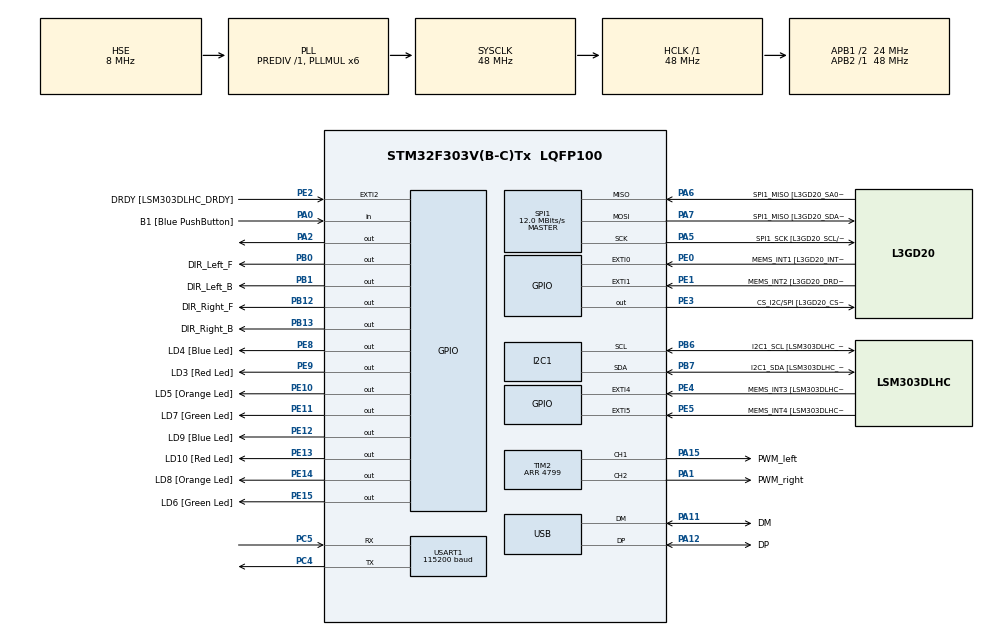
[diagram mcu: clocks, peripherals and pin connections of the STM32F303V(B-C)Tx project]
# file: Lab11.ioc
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I2C1.Timing=0x00201D2B
I2C1.Timing-I2C=0x2000090E
Mcu.Family=STM32F3
Mcu.Name=STM32F303V(B-C)Tx
Mcu.Package=LQFP100
NVIC.PriorityGroup=NVIC_PRIORITYGROUP_0
NVIC.TIM4_IRQn=true\:0\:0\:false\:false\:true\:true\:true\:true
PA0.GPIO_Label=B1 [Blue PushButton]
PA0.Signal=GPIO_Input
PA1.GPIO_Label=PWM_right
PA1.Signal=S_TIM2_CH2
PA11.GPIO_Label=DM
PA11.Mode=Device
PA11.Signal=USB_DM
PA12.GPIO_Label=DP
PA12.Mode=Device
PA12.Signal=USB_DP
PA13.GPIO_Label=SWDIO
PA13.Mode=Serial_Wire
PA13.Signal=SYS_JTMS-SWDIO
PA14.GPIO_Label=SWCLK
PA14.Mode=Serial_Wire
PA14.Signal=SYS_JTCK-SWCLK
PA15.GPIO_Label=PWM_left
PA15.Signal=S_TIM2_CH1_ETR
PA2.Signal=GPIO_Output
PA5.GPIO_Label=SPI1_SCK [L3GD20_SCL/SPC]
PA5.Mode=Full_Duplex_Master
PA5.Signal=SPI1_SCK
PA6.GPIO_Label=SPI1_MISO [L3GD20_SA0/SDO]
PA6.Mode=Full_Duplex_Master
PA6.Signal=SPI1_MISO
PA7.GPIO_Label=SPI1_MISO [L3GD20_SDA/SDI/SDO]
PA7.Mode=Full_Duplex_Master
PA7.Signal=SPI1_MOSI
PB0.GPIO_Label=DIR_Left_F
PB0.Signal=GPIO_Output
PB1.GPIO_Label=DIR_Left_B
PB1.Signal=GPIO_Output
PB12.GPIO_Label=DIR_Right_F
PB12.Signal=GPIO_Output
PB13.GPIO_Label=DIR_Right_B
PB13.Signal=GPIO_Output
PB3.GPIO_Label=SWO
PB3.Signal=SYS_JTDO-TRACESWO
PB6.GPIO_Label=I2C1_SCL [LSM303DLHC_SCL]
PB6.GPIO_Pu=GPIO_PULLUP
PB6.Mode=I2C
PB6.Signal=I2C1_SCL
PB7.GPIO_Label=I2C1_SDA [LSM303DLHC_SDA]
PB7.GPIO_Pu=GPIO_PULLUP
PB7.Mode=I2C
PB7.Signal=I2C1_SDA
PC14-OSC32_IN.GPIO_Label=OSC32_IN
PC14-OSC32_IN.Signal=RCC_OSC32_IN
PC15-OSC32_OUT.GPIO_Label=OSC32_OUT
PC15-OSC32_OUT.Signal=RCC_OSC32_OUT
PC4.Mode=Asynchronous
PC4.Signal=USART1_TX
PC5.Mode=Asynchronous
PC5.Signal=USART1_RX
PE0.GPIO_Label=MEMS_INT1 [L3GD20_INT1]
PE0.GPIO_ModeDefaultEXTI=GPIO_MODE_EVT_RISING
PE0.Signal=GPXTI0
PE1.GPIO_Label=MEMS_INT2 [L3GD20_DRDY/INT2]
PE1.GPIO_ModeDefaultEXTI=GPIO_MODE_EVT_RISING
PE1.Signal=GPXTI1
PE10.GPIO_Label=LD5 [Orange Led]
PE10.Signal=GPIO_Output
PE11.GPIO_Label=LD7 [Green Led]
PE11.Signal=GPIO_Output
PE12.GPIO_Label=LD9 [Blue Led]
PE12.Signal=GPIO_Output
PE13.GPIO_Label=LD10 [Red Led]
PE13.Signal=GPIO_Output
PE14.GPIO_Label=LD8 [Orange Led]
PE14.Signal=GPIO_Output
PE15.GPIO_Label=LD6 [Green Led]
PE15.Signal=GPIO_Output
PE2.GPIO_Label=DRDY [LSM303DLHC_DRDY]
PE2.GPIO_ModeDefaultEXTI=GPIO_MODE_EVT_RISING
PE2.Signal=GPXTI2
PE3.GPIO_Label=CS_I2C/SPI [L3GD20_CS_I2C/SPI]
PE3.Signal=GPIO_Output
PE4.GPIO_Label=MEMS_INT3 [LSM303DLHC_INT1]
PE4.GPIO_ModeDefaultEXTI=GPIO_MODE_EVT_RISING
PE4.Signal=GPXTI4
PE5.GPIO_Label=MEMS_INT4 [LSM303DLHC_INT2]
PE5.GPIO_ModeDefaultEXTI=GPIO_MODE_EVT_RISING
PE5.Signal=GPXTI5
PE8.GPIO_Label=LD4 [Blue Led]
PE8.Signal=GPIO_Output
PE9.GPIO_Label=LD3 [Red Led]
PE9.Signal=GPIO_Output
PF0-OSC_IN.GPIO_Label=OSC_IN
PF0-OSC_IN.Mode=HSE-External-Clock-Source
PF0-OSC_IN.Signal=RCC_OSC_IN
PF1-OSC_OUT.GPIO_Label=OSC_OUT
PF1-OSC_OUT.Signal=RCC_OSC_OUT
ProjectManager.HeapSize=0x200
ProjectManager.StackSize=0x400
ProjectManager.TargetToolchain=CMake
RCC.AHBFreq_Value=48000000
RCC.APB1CLKDivider=RCC_HCLK_DIV2
RCC.APB1Freq_Value=24000000
RCC.APB1TimFreq_Value=48000000
RCC.APB2Freq_Value=48000000
RCC.APB2TimFreq_Value=48000000
RCC.CortexFreq_Value=48000000
RCC.HCLKFreq_Value=48000000
RCC.HSE_VALUE=8000000
RCC.HSI_VALUE=8000000
RCC.LSE_VALUE=32768
RCC.PLLMUL=RCC_PLL_MUL6
RCC.SYSCLKFreq_VALUE=48000000
RCC.SYSCLKSourceVirtual=RCC_SYSCLKSOURCE_PLLCLK
RCC.USBFreq_Value=48000000
SH.S_TIM2_CH1_ETR.0=TIM2_CH1,PWM Generation1 CH1
SH.S_TIM2_CH2.0=TIM2_CH2,PWM Generation2 CH2
SPI1.BaudRatePrescaler=SPI_BAUDRATEPRESCALER_4
SPI1.BaudRatePrescaler-Full_Duplex_Master=SPI_BAUDRATEPRESCALER_2
SPI1.CLKPhase=SPI_PHASE_2EDGE
SPI1.CLKPolarity=SPI_POLARITY_HIGH
SPI1.CalculateBaudRate=12.0 MBits/s
SPI1.CalculateBaudRate-Full_Duplex_Master=24.0 MBits/s
SPI1.DataSize=SPI_DATASIZE_8BIT
SPI1.Direction=SPI_DIRECTION_2LINES
SPI1.Mode=SPI_MODE_MASTER
SPI1.Mode-Full_Duplex_Master=SPI_MODE_MASTER
SPI1.VirtualType=VM_MASTER
TIM2.Channel-PWM\ Generation1\ CH1=TIM_CHANNEL_1
TIM2.Channel-PWM\ Generation2\ CH2=TIM_CHANNEL_2
TIM2.Period=4799
TIM4.Period=49
TIM4.Prescaler=7199
USART1.BaudRate=115200
USART1.VirtualMode-Asynchronous=VM_ASYNC
VP_TIM2_VS_ClockSourceINT.Mode=Internal
VP_TIM4_VS_ClockSourceINT.Mode=Internal
board=STM32F3DISCOVERY

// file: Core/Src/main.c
/* USER CODE BEGIN Header */
/**
 ******************************************************************************
 * @file           : main.c
 * @brief          : Main program body
 ******************************************************************************
 * @attention
 *
 * Copyright (c) 2026 STMicroelectronics.
 * All rights reserved.
 *
 * This software is licensed under terms that can be found in the LICENSE file
 * in the root directory of this software component.
 * If no LICENSE file comes with this software, it is provided AS-IS.
 *
 ******************************************************************************
 */
/* USER CODE END Header */
#include "main.h"

/* USER CODE BEGIN Includes */
#include <math.h> // For atan2f
#include <stdint.h>
#include <stdio.h>
#include <string.h>

/* USER CODE END Includes */

/* USER CODE BEGIN PTD */
typedef struct {
  int16_t raw_x;
  int16_t raw_y;
  int16_t raw_z;
  float scaled_x;
  float scaled_y;
  float scaled_z;
  float offset_x;
  float offset_y;
  float offset_z;
  int16_t gyro_raw_x;
  int16_t gyro_raw_y;
  int16_t gyro_raw_z;
  float gyro_scaled_x;
  float gyro_scaled_y;
  float gyro_scaled_z;
  float gyro_offset_x;
  float gyro_offset_y;
  float gyro_offset_z;
} LSM_Data;
/* USER CODE END PTD */

/* USER CODE BEGIN PD */
#define LSM_ADDR (0x19 << 1)
#define GYRO_CS_PORT GPIOE
#define GYRO_CS_PIN GPIO_PIN_3
#define GYRO_CTRL_REG1 0x20
#define GYRO_OUT_X_L 0x28
#define MAX_PWM 4799.0f
#define PWM_DEADZONE 300.0f

#define DIR_Left_F_Pin GPIO_PIN_0
#define DIR_Left_B_Pin GPIO_PIN_1
#define DIR_Right_F_Pin GPIO_PIN_12
#define DIR_Right_B_Pin GPIO_PIN_13
/* USER CODE END PD */

I2C_HandleTypeDef hi2c1;

SPI_HandleTypeDef hspi1;

TIM_HandleTypeDef htim2;
TIM_HandleTypeDef htim4;

UART_HandleTypeDef huart1;

PCD_HandleTypeDef hpcd_USB_FS;

/* USER CODE BEGIN PV */
LSM_Data acc_data;

// Control Loop Variables
float dt = 0.005f; // 200Hz loop time from your TIM4 setup
volatile uint8_t display_flag = 0;

// Angle Estimation Variables
float tilt_angle = 0.0f;
float acc_angle = 0.0f;
float filtered_derivative = 0.0f;
float alpha = 0.25f; // Filter strength, tune between 0.1 - 0.3
// PID Variables
float Kp = 25.0f; //60// Placeholder gains
float Ki = 0.1f;  //0.5s
float Kd = 0.65f;//10

float setpoint = 0.0f; // 0 degrees = perfectly upright
float integral = 0.0f;
float previous_error = 0.0f;
float pid_output = 0.0f;
/* USER CODE END PV */

void SystemClock_Config(void);
static void MX_GPIO_Init(void);
static void MX_I2C1_Init(void);
static void MX_SPI1_Init(void);
static void MX_TIM4_Init(void);
static void MX_USART1_UART_Init(void);
static void MX_USB_PCD_Init(void);
static void MX_TIM2_Init(void);
/* USER CODE BEGIN PFP */
void LSM_Init(void);
void GYRO_Init(void);
void GYRO_Read(LSM_Data *data);
void LSM_Read(LSM_Data *data);
void LSM_Offset_Calibration(LSM_Data *data);
void GYRO_Offset_Calibration(LSM_Data *data);
void Set_Motor_Speeds(float pid_value);
void HAL_TIM_MspPostInit(TIM_HandleTypeDef *htim);
/* USER CODE END PFP */

/* USER CODE BEGIN 0 */
void LSM_Offset_Calibration(LSM_Data *data) {
  float sum_x = 0.0f, sum_y = 0.0f, sum_z = 0.0f;

  // 1. Wipe out any old garbage offsets first
  data->offset_x = 0.0f;
  data->offset_y = 0.0f;
  data->offset_z = 0.0f;

  // 2. Take 50 clean readings using your proper read function
  for (int i = 0; i < 50; i++) {
    LSM_Read(data);
    sum_x += data->scaled_x;
    sum_y += data->scaled_y;
    sum_z += data->scaled_z;
    HAL_Delay(10);
  }

  // 3. Save the true averages
  data->offset_x = sum_x / 50.0f;
  data->offset_y = sum_y / 50.0f;
  data->offset_z = (sum_z / 50.0f) - 1.0f; // Subtract 1G for gravity
}

/* USER CODE END 0 */

int main(void) {

  /* MCU Configuration--------------------------------------------------------*/

  /* Reset of all peripherals, Initializes the Flash interface and the Systick.
   */

   HAL_Init();

  /* Configure the system clock */
  SystemClock_Config();

  /* Initialize all configured peripherals */
  MX_GPIO_Init();
  MX_I2C1_Init();
  MX_SPI1_Init();
  MX_TIM4_Init();
  MX_USART1_UART_Init();
  MX_USB_PCD_Init();
  MX_TIM2_Init();
  /* USER CODE BEGIN 2 */
  // ... (keep your existing init code here)
  LSM_Init();
  GYRO_Init();
  HAL_Delay(200);
  LSM_Offset_Calibration(&acc_data);
  GYRO_Offset_Calibration(&acc_data);

  HAL_TIM_Base_Start_IT(&htim4); // START THE TIMER INTERRUPT! [cits: 268]
  LSM_Init();
  GYRO_Init();
  HAL_Delay(200);
  LSM_Offset_Calibration(&acc_data);
  GYRO_Offset_Calibration(&acc_data);

  // Start the Motor PWM channels!
  HAL_TIM_PWM_Start(&htim2, TIM_CHANNEL_1);
  HAL_TIM_PWM_Start(&htim2, TIM_CHANNEL_2);

  HAL_TIM_Base_Start_IT(&htim4); // START THE 200Hz TIMER INTERRUPT!
  /* USER CODE END 2 */

  /* Infinite loop */
  /* USER CODE BEGIN WHILE */
  while (1) {
    if (display_flag == 1) {
      display_flag = 0;

      // Printing all raw gyro rates, accelerometer data, and filtered angle
      // printf("AX: %.2f | AY: %.2f | AZ: %.2f || GX: %.2f | GY: %.2f | GZ:
      // %.2f || Angle: %.2f\r\n",
      //        acc_data.scaled_x,
      //        acc_data.scaled_y,
      //        acc_data.scaled_z,
      //        acc_data.gyro_scaled_x,
      //        acc_data.gyro_scaled_y,
      //        acc_data.gyro_scaled_z,
      //        tilt_angle);
      printf("%.2f,%.2f,%.2f\r\n", acc_data.scaled_y, acc_data.gyro_scaled_y,
             tilt_angle);
    }
    /* USER CODE END WHILE */

  }
}

void SystemClock_Config(void) {
  RCC_OscInitTypeDef RCC_OscInitStruct = {0};
  RCC_ClkInitTypeDef RCC_ClkInitStruct = {0};
  RCC_PeriphCLKInitTypeDef PeriphClkInit = {0};

  /** Initializes the RCC Oscillators according to the specified parameters
   * in the RCC_OscInitTypeDef structure.
   */
  RCC_OscInitStruct.OscillatorType =
      RCC_OSCILLATORTYPE_HSI | RCC_OSCILLATORTYPE_HSE;
  RCC_OscInitStruct.HSEState = RCC_HSE_BYPASS;
  RCC_OscInitStruct.HSEPredivValue = RCC_HSE_PREDIV_DIV1;
  RCC_OscInitStruct.HSIState = RCC_HSI_ON;
  RCC_OscInitStruct.HSICalibrationValue = RCC_HSICALIBRATION_DEFAULT;
  RCC_OscInitStruct.PLL.PLLState = RCC_PLL_ON;
  RCC_OscInitStruct.PLL.PLLSource = RCC_PLLSOURCE_HSE;
  RCC_OscInitStruct.PLL.PLLMUL = RCC_PLL_MUL6;
  if (HAL_RCC_OscConfig(&RCC_OscInitStruct) != HAL_OK) {
    Error_Handler();
  }

  /** Initializes the CPU, AHB and APB buses clocks
   */
  RCC_ClkInitStruct.ClockType = RCC_CLOCKTYPE_HCLK | RCC_CLOCKTYPE_SYSCLK |
                                RCC_CLOCKTYPE_PCLK1 | RCC_CLOCKTYPE_PCLK2;
  RCC_ClkInitStruct.SYSCLKSource = RCC_SYSCLKSOURCE_PLLCLK;
  RCC_ClkInitStruct.AHBCLKDivider = RCC_SYSCLK_DIV1;
  RCC_ClkInitStruct.APB1CLKDivider = RCC_HCLK_DIV2;
  RCC_ClkInitStruct.APB2CLKDivider = RCC_HCLK_DIV1;

  if (HAL_RCC_ClockConfig(&RCC_ClkInitStruct, FLASH_LATENCY_1) != HAL_OK) {
    Error_Handler();
  }
  PeriphClkInit.PeriphClockSelection =
      RCC_PERIPHCLK_USB | RCC_PERIPHCLK_USART1 | RCC_PERIPHCLK_I2C1;
  PeriphClkInit.Usart1ClockSelection = RCC_USART1CLKSOURCE_PCLK2;
  PeriphClkInit.I2c1ClockSelection = RCC_I2C1CLKSOURCE_HSI;
  PeriphClkInit.USBClockSelection = RCC_USBCLKSOURCE_PLL;
  if (HAL_RCCEx_PeriphCLKConfig(&PeriphClkInit) != HAL_OK) {
    Error_Handler();
  }
}

static void MX_I2C1_Init(void) {

  hi2c1.Instance = I2C1;
  hi2c1.Init.Timing = 0x00201D2B;
  hi2c1.Init.OwnAddress1 = 0;
  hi2c1.Init.AddressingMode = I2C_ADDRESSINGMODE_7BIT;
  hi2c1.Init.DualAddressMode = I2C_DUALADDRESS_DISABLE;
  hi2c1.Init.OwnAddress2 = 0;
  hi2c1.Init.OwnAddress2Masks = I2C_OA2_NOMASK;
  hi2c1.Init.GeneralCallMode = I2C_GENERALCALL_DISABLE;
  hi2c1.Init.NoStretchMode = I2C_NOSTRETCH_DISABLE;
  if (HAL_I2C_Init(&hi2c1) != HAL_OK) {
    Error_Handler();
  }

  /** Configure Analogue filter
   */
  if (HAL_I2CEx_ConfigAnalogFilter(&hi2c1, I2C_ANALOGFILTER_ENABLE) != HAL_OK) {
    Error_Handler();
  }

  /** Configure Digital filter
   */
  if (HAL_I2CEx_ConfigDigitalFilter(&hi2c1, 0) != HAL_OK) {
    Error_Handler();
  }
}

static void MX_SPI1_Init(void) {

  /* SPI1 parameter configuration*/
  hspi1.Instance = SPI1;
  hspi1.Init.Mode = SPI_MODE_MASTER;
  hspi1.Init.Direction = SPI_DIRECTION_2LINES;
  hspi1.Init.DataSize = SPI_DATASIZE_8BIT;
  hspi1.Init.CLKPolarity = SPI_POLARITY_HIGH;
  hspi1.Init.CLKPhase = SPI_PHASE_2EDGE;
  hspi1.Init.NSS = SPI_NSS_SOFT;
  hspi1.Init.BaudRatePrescaler = SPI_BAUDRATEPRESCALER_4;
  hspi1.Init.FirstBit = SPI_FIRSTBIT_MSB;
  hspi1.Init.TIMode = SPI_TIMODE_DISABLE;
  hspi1.Init.CRCCalculation = SPI_CRCCALCULATION_DISABLE;
  hspi1.Init.CRCPolynomial = 7;
  hspi1.Init.CRCLength = SPI_CRC_LENGTH_DATASIZE;
  hspi1.Init.NSSPMode = SPI_NSS_PULSE_DISABLE;
  if (HAL_SPI_Init(&hspi1) != HAL_OK) {
    Error_Handler();
  }
}

static void MX_TIM2_Init(void) {

  TIM_ClockConfigTypeDef sClockSourceConfig = {0};
  TIM_MasterConfigTypeDef sMasterConfig = {0};
  TIM_OC_InitTypeDef sConfigOC = {0};

  htim2.Instance = TIM2;
  htim2.Init.Prescaler = 0;
  htim2.Init.CounterMode = TIM_COUNTERMODE_UP;
  htim2.Init.Period = 4799;
  htim2.Init.ClockDivision = TIM_CLOCKDIVISION_DIV1;
  htim2.Init.AutoReloadPreload = TIM_AUTORELOAD_PRELOAD_DISABLE;
  if (HAL_TIM_Base_Init(&htim2) != HAL_OK) {
    Error_Handler();
  }
  sClockSourceConfig.ClockSource = TIM_CLOCKSOURCE_INTERNAL;
  if (HAL_TIM_ConfigClockSource(&htim2, &sClockSourceConfig) != HAL_OK) {
    Error_Handler();
  }
  if (HAL_TIM_PWM_Init(&htim2) != HAL_OK) {
    Error_Handler();
  }
  sMasterConfig.MasterOutputTrigger = TIM_TRGO_RESET;
  sMasterConfig.MasterSlaveMode = TIM_MASTERSLAVEMODE_DISABLE;
  if (HAL_TIMEx_MasterConfigSynchronization(&htim2, &sMasterConfig) != HAL_OK) {
    Error_Handler();
  }
  sConfigOC.OCMode = TIM_OCMODE_PWM1;
  sConfigOC.Pulse = 0;
  sConfigOC.OCPolarity = TIM_OCPOLARITY_HIGH;
  sConfigOC.OCFastMode = TIM_OCFAST_DISABLE;
  if (HAL_TIM_PWM_ConfigChannel(&htim2, &sConfigOC, TIM_CHANNEL_1) != HAL_OK) {
    Error_Handler();
  }
  if (HAL_TIM_PWM_ConfigChannel(&htim2, &sConfigOC, TIM_CHANNEL_2) != HAL_OK) {
    Error_Handler();
  }
  HAL_TIM_MspPostInit(&htim2);
}

static void MX_TIM4_Init(void) {

  TIM_ClockConfigTypeDef sClockSourceConfig = {0};
  TIM_MasterConfigTypeDef sMasterConfig = {0};

  htim4.Instance = TIM4;
  htim4.Init.Prescaler = 7199;
  htim4.Init.CounterMode = TIM_COUNTERMODE_UP;
  htim4.Init.Period = 49;
  htim4.Init.ClockDivision = TIM_CLOCKDIVISION_DIV1;
  htim4.Init.AutoReloadPreload = TIM_AUTORELOAD_PRELOAD_DISABLE;
  if (HAL_TIM_Base_Init(&htim4) != HAL_OK) {
    Error_Handler();
  }
  sClockSourceConfig.ClockSource = TIM_CLOCKSOURCE_INTERNAL;
  if (HAL_TIM_ConfigClockSource(&htim4, &sClockSourceConfig) != HAL_OK) {
    Error_Handler();
  }
  sMasterConfig.MasterOutputTrigger = TIM_TRGO_RESET;
  sMasterConfig.MasterSlaveMode = TIM_MASTERSLAVEMODE_DISABLE;
  if (HAL_TIMEx_MasterConfigSynchronization(&htim4, &sMasterConfig) != HAL_OK) {
    Error_Handler();
  }
}

static void MX_USART1_UART_Init(void) {

  huart1.Instance = USART1;
  huart1.Init.BaudRate = 115200;
  huart1.Init.WordLength = UART_WORDLENGTH_8B;
  huart1.Init.StopBits = UART_STOPBITS_1;
  huart1.Init.Parity = UART_PARITY_NONE;
  huart1.Init.Mode = UART_MODE_TX_RX;
  huart1.Init.HwFlowCtl = UART_HWCONTROL_NONE;
  huart1.Init.OverSampling = UART_OVERSAMPLING_16;
  huart1.Init.OneBitSampling = UART_ONE_BIT_SAMPLE_DISABLE;
  huart1.AdvancedInit.AdvFeatureInit = UART_ADVFEATURE_NO_INIT;
  if (HAL_UART_Init(&huart1) != HAL_OK) {
    Error_Handler();
  }
}

static void MX_USB_PCD_Init(void) {

  hpcd_USB_FS.Instance = USB;
  hpcd_USB_FS.Init.dev_endpoints = 8;
  hpcd_USB_FS.Init.speed = PCD_SPEED_FULL;
  hpcd_USB_FS.Init.phy_itface = PCD_PHY_EMBEDDED;
  hpcd_USB_FS.Init.low_power_enable = DISABLE;
  hpcd_USB_FS.Init.battery_charging_enable = DISABLE;
  if (HAL_PCD_Init(&hpcd_USB_FS) != HAL_OK) {
    Error_Handler();
  }
}

static void MX_GPIO_Init(void) {
  GPIO_InitTypeDef GPIO_InitStruct = {0};

  /* GPIO Ports Clock Enable */
  __HAL_RCC_GPIOE_CLK_ENABLE();
  __HAL_RCC_GPIOC_CLK_ENABLE();
  __HAL_RCC_GPIOF_CLK_ENABLE();
  __HAL_RCC_GPIOA_CLK_ENABLE();
  __HAL_RCC_GPIOB_CLK_ENABLE();

  /*Configure GPIO pin Output Level */
  HAL_GPIO_WritePin(GPIOE,
                    CS_I2C_SPI_Pin | LD4_Pin | LD3_Pin | LD5_Pin | LD7_Pin |
                        LD9_Pin | LD10_Pin | LD8_Pin | LD6_Pin,
                    GPIO_PIN_RESET);

  /*Configure GPIO pin Output Level */
  HAL_GPIO_WritePin(GPIOA, GPIO_PIN_2, GPIO_PIN_RESET);

  /*Configure GPIO pin Output Level */
  HAL_GPIO_WritePin(GPIOB,
                    DIR_Left_F_Pin | DIR_Left_B_Pin | DIR_Right_F_Pin |
                        DIR_Right_B_Pin,
                    GPIO_PIN_RESET);

  /*Configure GPIO pins : DRDY_Pin MEMS_INT3_Pin MEMS_INT4_Pin MEMS_INT1_Pin
                           MEMS_INT2_Pin */
  GPIO_InitStruct.Pin =
      DRDY_Pin | MEMS_INT3_Pin | MEMS_INT4_Pin | MEMS_INT1_Pin | MEMS_INT2_Pin;
  GPIO_InitStruct.Mode = GPIO_MODE_EVT_RISING;
  GPIO_InitStruct.Pull = GPIO_NOPULL;
  HAL_GPIO_Init(GPIOE, &GPIO_InitStruct);

  /*Configure GPIO pins : CS_I2C_SPI_Pin LD4_Pin LD3_Pin LD5_Pin
                           LD7_Pin LD9_Pin LD10_Pin LD8_Pin
                           LD6_Pin */
  GPIO_InitStruct.Pin = CS_I2C_SPI_Pin | LD4_Pin | LD3_Pin | LD5_Pin | LD7_Pin |
                        LD9_Pin | LD10_Pin | LD8_Pin | LD6_Pin;
  GPIO_InitStruct.Mode = GPIO_MODE_OUTPUT_PP;
  GPIO_InitStruct.Pull = GPIO_NOPULL;
  GPIO_InitStruct.Speed = GPIO_SPEED_FREQ_LOW;
  HAL_GPIO_Init(GPIOE, &GPIO_InitStruct);

  /*Configure GPIO pin : B1_Pin */
  GPIO_InitStruct.Pin = B1_Pin;
  GPIO_InitStruct.Mode = GPIO_MODE_INPUT;
  GPIO_InitStruct.Pull = GPIO_NOPULL;
  HAL_GPIO_Init(B1_GPIO_Port, &GPIO_InitStruct);

  /*Configure GPIO pin : PA2 */
  GPIO_InitStruct.Pin = GPIO_PIN_2;
  GPIO_InitStruct.Mode = GPIO_MODE_OUTPUT_PP;
  GPIO_InitStruct.Pull = GPIO_NOPULL;
  GPIO_InitStruct.Speed = GPIO_SPEED_FREQ_LOW;
  HAL_GPIO_Init(GPIOA, &GPIO_InitStruct);

  /*Configure GPIO pins : DIR_Left_F_Pin DIR_Left_B_Pin DIR_Right_F_Pin
   * DIR_Right_B_Pin */
  GPIO_InitStruct.Pin =
      DIR_Left_F_Pin | DIR_Left_B_Pin | DIR_Right_F_Pin | DIR_Right_B_Pin;
  GPIO_InitStruct.Mode = GPIO_MODE_OUTPUT_PP;
  GPIO_InitStruct.Pull = GPIO_NOPULL;
  GPIO_InitStruct.Speed = GPIO_SPEED_FREQ_LOW;
  HAL_GPIO_Init(GPIOB, &GPIO_InitStruct);

}

/* USER CODE BEGIN 4 */
void LSM_Init(void) {
  uint8_t data;

  // CTRL_REG1_A → 0x67 speeds the sensor up to 200Hz to match your STM32!
  data = 0x67;
  HAL_I2C_Mem_Write(&hi2c1, LSM_ADDR, 0x20, I2C_MEMADD_SIZE_8BIT, &data, 1,
                    HAL_MAX_DELAY);

  // CTRL_REG4_A → 0x88 turns ON the BDU Shield and High-Resolution mode!
  data = 0x88;
  HAL_I2C_Mem_Write(&hi2c1, LSM_ADDR, 0x23, I2C_MEMADD_SIZE_8BIT, &data, 1,
                    HAL_MAX_DELAY);
}

void GYRO_Init(void) {
  uint8_t data[2];

  data[0] = GYRO_CTRL_REG1;
  data[1] = 0x0F; // Power on, enable X Y Z, 95Hz

  HAL_GPIO_WritePin(GYRO_CS_PORT, GYRO_CS_PIN, GPIO_PIN_RESET);
  HAL_SPI_Transmit(&hspi1, data, 2, HAL_MAX_DELAY);
  HAL_GPIO_WritePin(GYRO_CS_PORT, GYRO_CS_PIN, GPIO_PIN_SET);
}

void GYRO_Offset_Calibration(LSM_Data *data) {
  float sum_x = 0.0f, sum_y = 0.0f, sum_z = 0.0f;
  for (int i = 0; i < 50; i++) {
    GYRO_Read(data); // Read the raw gyro
    sum_x += data->gyro_scaled_x;
    sum_y += data->gyro_scaled_y;
    sum_z += data->gyro_scaled_z;
    HAL_Delay(10);
  }
  // Save the average "fake speed"
  data->gyro_offset_x = sum_x / 50.0f;
  data->gyro_offset_y = sum_y / 50.0f;
  data->gyro_offset_z = sum_z / 50.0f;
}

void LSM_Read(LSM_Data *data) {
  uint8_t rawData[6];

  HAL_I2C_Mem_Read(&hi2c1, LSM_ADDR, 0x28 | 0x80, I2C_MEMADD_SIZE_8BIT, rawData,
                   6, HAL_MAX_DELAY);

  // YOU MUST SHIFT RIGHT BY 4 ( >> 4 ) TO DELETE THE EMPTY BITS!
  data->raw_x = ((int16_t)((rawData[1] << 8) | rawData[0])) >> 4;
  data->raw_y = ((int16_t)((rawData[3] << 8) | rawData[2])) >> 4;
  data->raw_z = ((int16_t)((rawData[5] << 8) | rawData[4])) >> 4;

  // Because we turned on High Res mode, the multiplier is exactly 1.0f,
  // NOT 3.9f!
  data->scaled_x = (data->raw_x * 1.0f / 1000.0f) - data->offset_x;
  data->scaled_y = (data->raw_y * 1.0f / 1000.0f) - data->offset_y;
  data->scaled_z = (data->raw_z * 1.0f / 1000.0f) - data->offset_z;
}

void GYRO_Read(LSM_Data *data) {
  uint8_t tx_buf[7] = {0};
  uint8_t rx_buf[7] = {0};

  tx_buf[0] = 0xC0 | GYRO_OUT_X_L;
  // 0x80 = Read
  // 0x40 = Auto increment

  HAL_GPIO_WritePin(GYRO_CS_PORT, GYRO_CS_PIN, GPIO_PIN_RESET);
  HAL_SPI_TransmitReceive(&hspi1, tx_buf, rx_buf, 7, HAL_MAX_DELAY);
  HAL_GPIO_WritePin(GYRO_CS_PORT, GYRO_CS_PIN, GPIO_PIN_SET);

  data->gyro_raw_x = (int16_t)((rx_buf[2] << 8) | rx_buf[1]);
  data->gyro_raw_y = (int16_t)((rx_buf[4] << 8) | rx_buf[3]);
  data->gyro_raw_z = (int16_t)((rx_buf[6] << 8) | rx_buf[5]);

  // L3GD20 ±250 dps sensitivity
  // L3GD20 ±250 dps sensitivity MINUS the offset
  data->gyro_scaled_x = (data->gyro_raw_x * 0.00875f) - data->gyro_offset_x;
  data->gyro_scaled_y = (data->gyro_raw_y * 0.00875f) - data->gyro_offset_y;
  data->gyro_scaled_z = (data->gyro_raw_z * 0.00875f) - data->gyro_offset_z;
}

int _write(int file, char *ptr, int len) {
  HAL_UART_Transmit(&huart1, (uint8_t *)ptr, len, HAL_MAX_DELAY);
  return len;
}

void HAL_TIM_PeriodElapsedCallback(TIM_HandleTypeDef *htim) {
  if (htim->Instance == TIM4) // Using your TIM4 setup
  {
    static int counter = 0;

    // 1. Read Sensors

    LSM_Read(&acc_data);
    GYRO_Read(&acc_data);

    // 2. Angle Estimation (Complementary Filter)
    // Note: You may need to swap Y/Z or X/Z based on exactly how your board is
    // mounted.
    acc_angle = atan2f(acc_data.scaled_x, acc_data.scaled_z) * (180.0f / M_PI);

    // Filter: 98% Gyro, 2% Accelerometer
    tilt_angle = 0.985f * (tilt_angle + (acc_data.gyro_scaled_y * dt)) +
                 0.015f * acc_angle;

    HAL_GPIO_TogglePin(GPIOA, GPIO_PIN_2);
    // 3. PID Controller
    // Note: Pure proportional (P only) is not allowed by the lab manual
    // float error = setpoint - tilt_angle;

    // // Proportional
    // float P = Kp * error;

    // // Integral
    // integral += error * dt;
    // if (fabsf(error) < 0.5f) integral = 0.0f;
    if (integral > 50.0f)  integral = 50.0f;
    if (integral < -50.0f) integral = -50.0f;
    // float I = Ki * integral;

    // // Derivative
    // float derivative = (error - previous_error) / dt;
    // float D = Kd * derivative;

    // pid_output = P + I + D;
    // previous_error = error;

    // Set_Motor_Speeds(-pid_output);
     if (tilt_angle > 40.0f || tilt_angle < -40.0f)
    {
        // WE FELL OVER. KILL THE MOTORS.
        Set_Motor_Speeds(0.0f);
        integral = 0.0f;
        pid_output = 0.0f;
    }
    else
    {
        // WE ARE UPRIGHT. RUN THE PID MATH.
        float error = setpoint - tilt_angle;

        float P = Kp * error;

        integral += error * dt;
        float I = Ki * integral;

        // float derivative = (error - previous_error) / dt;
        // float D = Kd * derivative;
        float raw_derivative = (error - previous_error) / dt;
        filtered_derivative = alpha * raw_derivative + (1.0f - alpha) * filtered_derivative;
        float D = Kd * filtered_derivative;
        pid_output = P + I + D;
        previous_error = error;

        // Note: If the robot darts in the WRONG direction and forces itself to crash,
        // change this to Set_Motor_Speeds(pid_output);
        Set_Motor_Speeds(-pid_output);
    }
    counter++;
    if (counter >= 20) // 200Hz / 20 = 10Hz print rate
    {
      display_flag = 1;
      counter = 0;
    }
  }
}
void Set_Motor_Speeds(float pid_value) {
  float final_pwm = 0.0f;

  // 1. Determine Direction
  if (pid_value > 0) // Falling Forward -> Drive Forward to catch it
  {
    HAL_GPIO_WritePin(GPIOB, DIR_Left_B_Pin, GPIO_PIN_SET);
    HAL_GPIO_WritePin(GPIOB, DIR_Left_F_Pin, GPIO_PIN_RESET);

    HAL_GPIO_WritePin(GPIOB, DIR_Right_B_Pin, GPIO_PIN_SET);
    HAL_GPIO_WritePin(GPIOB, DIR_Right_F_Pin, GPIO_PIN_RESET);

    final_pwm = pid_value;
  } else if (pid_value < 0) // Falling Backward -> Drive Backward
  {
    HAL_GPIO_WritePin(GPIOB, DIR_Left_F_Pin, GPIO_PIN_SET);
    HAL_GPIO_WritePin(GPIOB, DIR_Left_B_Pin, GPIO_PIN_RESET);

    HAL_GPIO_WritePin(GPIOB, DIR_Right_F_Pin, GPIO_PIN_SET);
    HAL_GPIO_WritePin(GPIOB, DIR_Right_B_Pin, GPIO_PIN_RESET);

    final_pwm = -pid_value; // PWM must be a positive number
  } else                    // Perfectly balanced
  {
    final_pwm = 0.0f;
  }

  // 2. Apply Deadzone (Only if we are actually trying to move)
  if (final_pwm > 0.0f) {
    final_pwm += PWM_DEADZONE;
  }

  // 3. Clamp to Maximum Speed
  if (final_pwm > MAX_PWM) {
    final_pwm = MAX_PWM;
  }

  // 4. Send speed to the hardware timer registers
  __HAL_TIM_SET_COMPARE(&htim2, TIM_CHANNEL_1,
                        (uint32_t)final_pwm); // Left Motor
  __HAL_TIM_SET_COMPARE(&htim2, TIM_CHANNEL_2,
                        (uint32_t)final_pwm); // Right Motor
}
/* USER CODE END 4 */

void Error_Handler(void) {
  __disable_irq();
  while (1) {
  }
}
#ifdef USE_FULL_ASSERT
/**
 * @brief  Reports the name of the source file and the source line number
 *         where the assert_param error has occurred.
 * @param  file: pointer to the source file name
 * @param  line: assert_param error line source number
 * @retval None
 */
void assert_failed(uint8_t *file, uint32_t line) {
  /* USER CODE BEGIN 6 */
  /* User can add his own implementation to report the file name and line
     number, ex: printf("Wrong parameters value: file %s on line %d\r\n", file,
     line) */
  /* USER CODE END 6 */
}
#endif /* USE_FULL_ASSERT */

// /* USER CODE BEGIN Header */
// /**
//  ******************************************************************************
//  * @file           : main.c
//  * @brief          : Main program body
//  ******************************************************************************
//  * @attention
//  *
//  * Copyright (c) 2026 STMicroelectronics.
//  * All rights reserved.
//  *
//  * This software is licensed under terms that can be found in the LICENSE file
//  * in the root directory of this software component.
//  * If no LICENSE file comes with this software, it is provided AS-IS.
//  *
//  ******************************************************************************
//  */
// /* USER CODE END Header */
// /* Includes ------------------------------------------------------------------*/
// #include "main.h"

// /* Private includes ----------------------------------------------------------*/
// /* USER CODE BEGIN Includes */
// #include <math.h> // For atan2f
// #include <stdint.h>
// #include <stdio.h>
// #include <string.h>

// /* USER CODE END Includes */

// /* Private typedef -----------------------------------------------------------*/
// /* USER CODE BEGIN PTD */
// typedef struct {
//   int16_t raw_x;
//   int16_t raw_y;
//   int16_t raw_z;
//   float scaled_x;
//   float scaled_y;
//   float scaled_z;
//   float offset_x;
//   float offset_y;
//   float offset_z;
//   int16_t gyro_raw_x;
//   int16_t gyro_raw_y;
//   int16_t gyro_raw_z;
//   float gyro_scaled_x;
//   float gyro_scaled_y;
//   float gyro_scaled_z;
//   float gyro_offset_x;
//   float gyro_offset_y;
//   float gyro_offset_z;
// } LSM_Data;
// /* USER CODE END PTD */

// /* Private define ------------------------------------------------------------*/
// /* USER CODE BEGIN PD */
// #define LSM_ADDR (0x19 << 1)
// #define GYRO_CS_PORT GPIOE
// #define GYRO_CS_PIN GPIO_PIN_3
// #define GYRO_CTRL_REG1 0x20
// #define GYRO_OUT_X_L 0x28
// #define MAX_PWM 4799.0f
// #define PWM_DEADZONE 300.0f

// #define DIR_Left_F_Pin GPIO_PIN_0
// #define DIR_Left_B_Pin GPIO_PIN_1
// #define DIR_Right_F_Pin GPIO_PIN_12
// #define DIR_Right_B_Pin GPIO_PIN_13
// /* USER CODE END PD */

// /* Private macro -------------------------------------------------------------*/
// /* USER CODE BEGIN PM */

// /* USER CODE END PM */

// /* Private variables ---------------------------------------------------------*/
// I2C_HandleTypeDef hi2c1;

// SPI_HandleTypeDef hspi1;

// TIM_HandleTypeDef htim2;
// TIM_HandleTypeDef htim4;

// UART_HandleTypeDef huart1;

// PCD_HandleTypeDef hpcd_USB_FS;

// /* USER CODE BEGIN PV */
// LSM_Data acc_data;

// // Control Loop Variables
// float dt = 0.005f; // 200Hz loop time from your TIM4 setup
// volatile uint8_t display_flag = 0;

// // Angle Estimation Variables
// float tilt_angle = 0.0f;
// float acc_angle = 0.0f;

// // PID Variables
// float Kp = 25.0f; // Placeholder gains, you will tune these later
// float Ki = 0.1f;
// float Kd = 0.65f;

// float setpoint = 0.0f; // 0 degrees = perfectly upright
// float integral = 0.0f;
// float previous_error = 0.0f;
// float pid_output = 0.0f;
// /* USER CODE END PV */

// /* Private function prototypes -----------------------------------------------*/
// void SystemClock_Config(void);
// static void MX_GPIO_Init(void);
// static void MX_I2C1_Init(void);
// static void MX_SPI1_Init(void);
// static void MX_TIM4_Init(void);
// static void MX_USART1_UART_Init(void);
// static void MX_USB_PCD_Init(void);
// static void MX_TIM2_Init(void);
// /* USER CODE BEGIN PFP */
// void LSM_Init(void);
// void GYRO_Init(void);
// void GYRO_Read(LSM_Data *data);
// void LSM_Read(LSM_Data *data);
// void LSM_Offset_Calibration(LSM_Data *data);
// void GYRO_Offset_Calibration(LSM_Data *data);
// void Set_Motor_Speeds(float pid_value);
// void HAL_TIM_MspPostInit(TIM_HandleTypeDef *htim);
// /* USER CODE END PFP */

// /* Private user code ---------------------------------------------------------*/
// /* USER CODE BEGIN 0 */
// void LSM_Offset_Calibration(LSM_Data *data) {
//   float sum_x = 0.0f, sum_y = 0.0f, sum_z = 0.0f;

//   // 1. Wipe out any old garbage offsets first
//   data->offset_x = 0.0f;
//   data->offset_y = 0.0f;
//   data->offset_z = 0.0f;

//   // 2. Take 50 clean readings using your proper read function
//   for (int i = 0; i < 50; i++) {
//     LSM_Read(data);
//     sum_x += data->scaled_x;
//     sum_y += data->scaled_y;
//     sum_z += data->scaled_z;
//     HAL_Delay(10);
//   }

//   // 3. Save the true averages
//   data->offset_x = sum_x / 50.0f;
//   data->offset_y = sum_y / 50.0f;
//   data->offset_z = (sum_z / 50.0f) - 1.0f; // Subtract 1G for gravity
// }

// /* USER CODE END 0 */

// /**
//  * @brief  The application entry point.
//  * @retval int
//  */
// int main(void) {

//   /* USER CODE BEGIN 1 */

//   /* USER CODE END 1 */

//   /* MCU Configuration--------------------------------------------------------*/

//   /* Reset of all peripherals, Initializes the Flash interface and the Systick.
//    */
//   HAL_Init();

//   /* USER CODE BEGIN Init */

//   /* USER CODE END Init */

//   /* Configure the system clock */
//   SystemClock_Config();

//   /* USER CODE BEGIN SysInit */

//   /* USER CODE END SysInit */

//   /* Initialize all configured peripherals */
//   MX_GPIO_Init();
//   MX_I2C1_Init();
//   MX_SPI1_Init();
//   MX_TIM4_Init();
//   MX_USART1_UART_Init();
//   MX_USB_PCD_Init();
//   MX_TIM2_Init();
//   /* USER CODE BEGIN 2 */
//   // ... (keep your existing init code here)
//   LSM_Init();
//   GYRO_Init();
//   HAL_Delay(200);
//   LSM_Offset_Calibration(&acc_data);
//   GYRO_Offset_Calibration(&acc_data);

//   HAL_TIM_Base_Start_IT(&htim4); // START THE TIMER INTERRUPT! [cits: 268]
//   LSM_Init();
//   GYRO_Init();
//   HAL_Delay(200);
//   LSM_Offset_Calibration(&acc_data);
//   GYRO_Offset_Calibration(&acc_data);

//   // Start the Motor PWM channels!
//   HAL_TIM_PWM_Start(&htim2, TIM_CHANNEL_1);
//   HAL_TIM_PWM_Start(&htim2, TIM_CHANNEL_2);

//   HAL_TIM_Base_Start_IT(&htim4); // START THE 200Hz TIMER INTERRUPT!
//   /* USER CODE END 2 */

//   /* Infinite loop */
//   /* USER CODE BEGIN WHILE */
//   while (1) {
//     if (display_flag == 1) {
//       display_flag = 0;

//       // Printing all raw gyro rates, accelerometer data, and filtered angle
//       // printf("AX: %.2f | AY: %.2f | AZ: %.2f || GX: %.2f | GY: %.2f | GZ:
//       // %.2f || Angle: %.2f\r\n",
//       //        acc_data.scaled_x,
//       //        acc_data.scaled_y,
//       //        acc_data.scaled_z,
//       //        acc_data.gyro_scaled_x,
//       //        acc_data.gyro_scaled_y,
//       //        acc_data.gyro_scaled_z,
//       //        tilt_angle);
//       printf("%.2f,%.2f,%.2f\r\n", acc_data.scaled_y, acc_data.gyro_scaled_y,
//              tilt_angle);
//     }
//     /* USER CODE END WHILE */

//     /* USER CODE BEGIN 3 */
//   }
//   /* USER CODE END 3 */
// }

// /**
//  * @brief System Clock Configuration
//  * @retval None
//  */
// void SystemClock_Config(void) {
//   RCC_OscInitTypeDef RCC_OscInitStruct = {0};
//   RCC_ClkInitTypeDef RCC_ClkInitStruct = {0};
//   RCC_PeriphCLKInitTypeDef PeriphClkInit = {0};

//   /** Initializes the RCC Oscillators according to the specified parameters
//    * in the RCC_OscInitTypeDef structure.
//    */
//   RCC_OscInitStruct.OscillatorType =
//       RCC_OSCILLATORTYPE_HSI | RCC_OSCILLATORTYPE_HSE;
//   RCC_OscInitStruct.HSEState = RCC_HSE_BYPASS;
//   RCC_OscInitStruct.HSEPredivValue = RCC_HSE_PREDIV_DIV1;
//   RCC_OscInitStruct.HSIState = RCC_HSI_ON;
//   RCC_OscInitStruct.HSICalibrationValue = RCC_HSICALIBRATION_DEFAULT;
//   RCC_OscInitStruct.PLL.PLLState = RCC_PLL_ON;
//   RCC_OscInitStruct.PLL.PLLSource = RCC_PLLSOURCE_HSE;
//   RCC_OscInitStruct.PLL.PLLMUL = RCC_PLL_MUL6;
//   if (HAL_RCC_OscConfig(&RCC_OscInitStruct) != HAL_OK) {
//     Error_Handler();
//   }

//   /** Initializes the CPU, AHB and APB buses clocks
//    */
//   RCC_ClkInitStruct.ClockType = RCC_CLOCKTYPE_HCLK | RCC_CLOCKTYPE_SYSCLK |
//                                 RCC_CLOCKTYPE_PCLK1 | RCC_CLOCKTYPE_PCLK2;
//   RCC_ClkInitStruct.SYSCLKSource = RCC_SYSCLKSOURCE_PLLCLK;
//   RCC_ClkInitStruct.AHBCLKDivider = RCC_SYSCLK_DIV1;
//   RCC_ClkInitStruct.APB1CLKDivider = RCC_HCLK_DIV2;
//   RCC_ClkInitStruct.APB2CLKDivider = RCC_HCLK_DIV1;

//   if (HAL_RCC_ClockConfig(&RCC_ClkInitStruct, FLASH_LATENCY_1) != HAL_OK) {
//     Error_Handler();
//   }
//   PeriphClkInit.PeriphClockSelection =
//       RCC_PERIPHCLK_USB | RCC_PERIPHCLK_USART1 | RCC_PERIPHCLK_I2C1;
//   PeriphClkInit.Usart1ClockSelection = RCC_USART1CLKSOURCE_PCLK2;
//   PeriphClkInit.I2c1ClockSelection = RCC_I2C1CLKSOURCE_HSI;
//   PeriphClkInit.USBClockSelection = RCC_USBCLKSOURCE_PLL;
//   if (HAL_RCCEx_PeriphCLKConfig(&PeriphClkInit) != HAL_OK) {
//     Error_Handler();
//   }
// }

// /**
//  * @brief I2C1 Initialization Function
//  * @param None
//  * @retval None
//  */
// static void MX_I2C1_Init(void) {

//   /* USER CODE BEGIN I2C1_Init 0 */

//   /* USER CODE END I2C1_Init 0 */

//   /* USER CODE BEGIN I2C1_Init 1 */

//   /* USER CODE END I2C1_Init 1 */
//   hi2c1.Instance = I2C1;
//   hi2c1.Init.Timing = 0x00201D2B;
//   hi2c1.Init.OwnAddress1 = 0;
//   hi2c1.Init.AddressingMode = I2C_ADDRESSINGMODE_7BIT;
//   hi2c1.Init.DualAddressMode = I2C_DUALADDRESS_DISABLE;
//   hi2c1.Init.OwnAddress2 = 0;
//   hi2c1.Init.OwnAddress2Masks = I2C_OA2_NOMASK;
//   hi2c1.Init.GeneralCallMode = I2C_GENERALCALL_DISABLE;
//   hi2c1.Init.NoStretchMode = I2C_NOSTRETCH_DISABLE;
//   if (HAL_I2C_Init(&hi2c1) != HAL_OK) {
//     Error_Handler();
//   }

//   /** Configure Analogue filter
//    */
//   if (HAL_I2CEx_ConfigAnalogFilter(&hi2c1, I2C_ANALOGFILTER_ENABLE) != HAL_OK) {
//     Error_Handler();
//   }

//   /** Configure Digital filter
//    */
//   if (HAL_I2CEx_ConfigDigitalFilter(&hi2c1, 0) != HAL_OK) {
//     Error_Handler();
//   }
//   /* USER CODE BEGIN I2C1_Init 2 */

//   /* USER CODE END I2C1_Init 2 */
// }

// /**
//  * @brief SPI1 Initialization Function
//  * @param None
//  * @retval None
//  */
// static void MX_SPI1_Init(void) {

//   /* USER CODE BEGIN SPI1_Init 0 */

//   /* USER CODE END SPI1_Init 0 */

//   /* USER CODE BEGIN SPI1_Init 1 */

//   /* USER CODE END SPI1_Init 1 */
//   /* SPI1 parameter configuration*/
//   hspi1.Instance = SPI1;
//   hspi1.Init.Mode = SPI_MODE_MASTER;
//   hspi1.Init.Direction = SPI_DIRECTION_2LINES;
//   hspi1.Init.DataSize = SPI_DATASIZE_8BIT;
//   hspi1.Init.CLKPolarity = SPI_POLARITY_HIGH;
//   hspi1.Init.CLKPhase = SPI_PHASE_2EDGE;
//   hspi1.Init.NSS = SPI_NSS_SOFT;
//   hspi1.Init.BaudRatePrescaler = SPI_BAUDRATEPRESCALER_4;
//   hspi1.Init.FirstBit = SPI_FIRSTBIT_MSB;
//   hspi1.Init.TIMode = SPI_TIMODE_DISABLE;
//   hspi1.Init.CRCCalculation = SPI_CRCCALCULATION_DISABLE;
//   hspi1.Init.CRCPolynomial = 7;
//   hspi1.Init.CRCLength = SPI_CRC_LENGTH_DATASIZE;
//   hspi1.Init.NSSPMode = SPI_NSS_PULSE_DISABLE;
//   if (HAL_SPI_Init(&hspi1) != HAL_OK) {
//     Error_Handler();
//   }
//   /* USER CODE BEGIN SPI1_Init 2 */

//   /* USER CODE END SPI1_Init 2 */
// }

// /**
//  * @brief TIM2 Initialization Function
//  * @param None
//  * @retval None
//  */
// static void MX_TIM2_Init(void) {

//   /* USER CODE BEGIN TIM2_Init 0 */

//   /* USER CODE END TIM2_Init 0 */

//   TIM_ClockConfigTypeDef sClockSourceConfig = {0};
//   TIM_MasterConfigTypeDef sMasterConfig = {0};
//   TIM_OC_InitTypeDef sConfigOC = {0};

//   /* USER CODE BEGIN TIM2_Init 1 */

//   /* USER CODE END TIM2_Init 1 */
//   htim2.Instance = TIM2;
//   htim2.Init.Prescaler = 0;
//   htim2.Init.CounterMode = TIM_COUNTERMODE_UP;
//   htim2.Init.Period = 4799;
//   htim2.Init.ClockDivision = TIM_CLOCKDIVISION_DIV1;
//   htim2.Init.AutoReloadPreload = TIM_AUTORELOAD_PRELOAD_DISABLE;
//   if (HAL_TIM_Base_Init(&htim2) != HAL_OK) {
//     Error_Handler();
//   }
//   sClockSourceConfig.ClockSource = TIM_CLOCKSOURCE_INTERNAL;
//   if (HAL_TIM_ConfigClockSource(&htim2, &sClockSourceConfig) != HAL_OK) {
//     Error_Handler();
//   }
//   if (HAL_TIM_PWM_Init(&htim2) != HAL_OK) {
//     Error_Handler();
//   }
//   sMasterConfig.MasterOutputTrigger = TIM_TRGO_RESET;
//   sMasterConfig.MasterSlaveMode = TIM_MASTERSLAVEMODE_DISABLE;
//   if (HAL_TIMEx_MasterConfigSynchronization(&htim2, &sMasterConfig) != HAL_OK) {
//     Error_Handler();
//   }
//   sConfigOC.OCMode = TIM_OCMODE_PWM1;
//   sConfigOC.Pulse = 0;
//   sConfigOC.OCPolarity = TIM_OCPOLARITY_HIGH;
//   sConfigOC.OCFastMode = TIM_OCFAST_DISABLE;
//   if (HAL_TIM_PWM_ConfigChannel(&htim2, &sConfigOC, TIM_CHANNEL_1) != HAL_OK) {
//     Error_Handler();
//   }
//   if (HAL_TIM_PWM_ConfigChannel(&htim2, &sConfigOC, TIM_CHANNEL_2) != HAL_OK) {
//     Error_Handler();
//   }
//   /* USER CODE BEGIN TIM2_Init 2 */

//   /* USER CODE END TIM2_Init 2 */
//   HAL_TIM_MspPostInit(&htim2);
// }

// /**
//  * @brief TIM4 Initialization Function
//  * @param None
//  * @retval None
//  */
// static void MX_TIM4_Init(void) {

//   /* USER CODE BEGIN TIM4_Init 0 */

//   /* USER CODE END TIM4_Init 0 */

//   TIM_ClockConfigTypeDef sClockSourceConfig = {0};
//   TIM_MasterConfigTypeDef sMasterConfig = {0};

//   /* USER CODE BEGIN TIM4_Init 1 */

//   /* USER CODE END TIM4_Init 1 */
//   htim4.Instance = TIM4;
//   htim4.Init.Prescaler = 7199;
//   htim4.Init.CounterMode = TIM_COUNTERMODE_UP;
//   htim4.Init.Period = 49;
//   htim4.Init.ClockDivision = TIM_CLOCKDIVISION_DIV1;
//   htim4.Init.AutoReloadPreload = TIM_AUTORELOAD_PRELOAD_DISABLE;
//   if (HAL_TIM_Base_Init(&htim4) != HAL_OK) {
//     Error_Handler();
//   }
//   sClockSourceConfig.ClockSource = TIM_CLOCKSOURCE_INTERNAL;
//   if (HAL_TIM_ConfigClockSource(&htim4, &sClockSourceConfig) != HAL_OK) {
//     Error_Handler();
//   }
//   sMasterConfig.MasterOutputTrigger = TIM_TRGO_RESET;
//   sMasterConfig.MasterSlaveMode = TIM_MASTERSLAVEMODE_DISABLE;
//   if (HAL_TIMEx_MasterConfigSynchronization(&htim4, &sMasterConfig) != HAL_OK) {
//     Error_Handler();
//   }
//   /* USER CODE BEGIN TIM4_Init 2 */

//   /* USER CODE END TIM4_Init 2 */
// }

// /**
//  * @brief USART1 Initialization Function
//  * @param None
//  * @retval None
//  */
// static void MX_USART1_UART_Init(void) {

//   /* USER CODE BEGIN USART1_Init 0 */

//   /* USER CODE END USART1_Init 0 */

//   /* USER CODE BEGIN USART1_Init 1 */

//   /* USER CODE END USART1_Init 1 */
//   huart1.Instance = USART1;
//   huart1.Init.BaudRate = 115200;
//   huart1.Init.WordLength = UART_WORDLENGTH_8B;
//   huart1.Init.StopBits = UART_STOPBITS_1;
//   huart1.Init.Parity = UART_PARITY_NONE;
//   huart1.Init.Mode = UART_MODE_TX_RX;
//   huart1.Init.HwFlowCtl = UART_HWCONTROL_NONE;
//   huart1.Init.OverSampling = UART_OVERSAMPLING_16;
//   huart1.Init.OneBitSampling = UART_ONE_BIT_SAMPLE_DISABLE;
//   huart1.AdvancedInit.AdvFeatureInit = UART_ADVFEATURE_NO_INIT;
//   if (HAL_UART_Init(&huart1) != HAL_OK) {
//     Error_Handler();
//   }
//   /* USER CODE BEGIN USART1_Init 2 */

//   /* USER CODE END USART1_Init 2 */
// }

// /**
//  * @brief USB Initialization Function
//  * @param None
//  * @retval None
//  */
// static void MX_USB_PCD_Init(void) {

//   /* USER CODE BEGIN USB_Init 0 */

//   /* USER CODE END USB_Init 0 */

//   /* USER CODE BEGIN USB_Init 1 */

//   /* USER CODE END USB_Init 1 */
//   hpcd_USB_FS.Instance = USB;
//   hpcd_USB_FS.Init.dev_endpoints = 8;
//   hpcd_USB_FS.Init.speed = PCD_SPEED_FULL;
//   hpcd_USB_FS.Init.phy_itface = PCD_PHY_EMBEDDED;
//   hpcd_USB_FS.Init.low_power_enable = DISABLE;
//   hpcd_USB_FS.Init.battery_charging_enable = DISABLE;
//   if (HAL_PCD_Init(&hpcd_USB_FS) != HAL_OK) {
//     Error_Handler();
//   }
//   /* USER CODE BEGIN USB_Init 2 */

//   /* USER CODE END USB_Init 2 */
// }

// /**
//  * @brief GPIO Initialization Function
//  * @param None
//  * @retval None
//  */
// static void MX_GPIO_Init(void) {
//   GPIO_InitTypeDef GPIO_InitStruct = {0};
//   /* USER CODE BEGIN MX_GPIO_Init_1 */

//   /* USER CODE END MX_GPIO_Init_1 */

//   /* GPIO Ports Clock Enable */
//   __HAL_RCC_GPIOE_CLK_ENABLE();
//   __HAL_RCC_GPIOC_CLK_ENABLE();
//   __HAL_RCC_GPIOF_CLK_ENABLE();
//   __HAL_RCC_GPIOA_CLK_ENABLE();
//   __HAL_RCC_GPIOB_CLK_ENABLE();

//   /*Configure GPIO pin Output Level */
//   HAL_GPIO_WritePin(GPIOE,
//                     CS_I2C_SPI_Pin | LD4_Pin | LD3_Pin | LD5_Pin | LD7_Pin |
//                         LD9_Pin | LD10_Pin | LD8_Pin | LD6_Pin,
//                     GPIO_PIN_RESET);

//   /*Configure GPIO pin Output Level */
//   HAL_GPIO_WritePin(GPIOA, GPIO_PIN_2, GPIO_PIN_RESET);

//   /*Configure GPIO pin Output Level */
//   HAL_GPIO_WritePin(GPIOB,
//                     DIR_Left_F_Pin | DIR_Left_B_Pin | DIR_Right_F_Pin |
//                         DIR_Right_B_Pin,
//                     GPIO_PIN_RESET);

//   /*Configure GPIO pins : DRDY_Pin MEMS_INT3_Pin MEMS_INT4_Pin MEMS_INT1_Pin
//                            MEMS_INT2_Pin */
//   GPIO_InitStruct.Pin =
//       DRDY_Pin | MEMS_INT3_Pin | MEMS_INT4_Pin | MEMS_INT1_Pin | MEMS_INT2_Pin;
//   GPIO_InitStruct.Mode = GPIO_MODE_EVT_RISING;
//   GPIO_InitStruct.Pull = GPIO_NOPULL;
//   HAL_GPIO_Init(GPIOE, &GPIO_InitStruct);

//   /*Configure GPIO pins : CS_I2C_SPI_Pin LD4_Pin LD3_Pin LD5_Pin
//                            LD7_Pin LD9_Pin LD10_Pin LD8_Pin
//                            LD6_Pin */
//   GPIO_InitStruct.Pin = CS_I2C_SPI_Pin | LD4_Pin | LD3_Pin | LD5_Pin | LD7_Pin |
//                         LD9_Pin | LD10_Pin | LD8_Pin | LD6_Pin;
//   GPIO_InitStruct.Mode = GPIO_MODE_OUTPUT_PP;
//   GPIO_InitStruct.Pull = GPIO_NOPULL;
//   GPIO_InitStruct.Speed = GPIO_SPEED_FREQ_LOW;
//   HAL_GPIO_Init(GPIOE, &GPIO_InitStruct);

//   /*Configure GPIO pin : B1_Pin */
//   GPIO_InitStruct.Pin = B1_Pin;
//   GPIO_InitStruct.Mode = GPIO_MODE_INPUT;
//   GPIO_InitStruct.Pull = GPIO_NOPULL;
//   HAL_GPIO_Init(B1_GPIO_Port, &GPIO_InitStruct);

//   /*Configure GPIO pin : PA2 */
//   GPIO_InitStruct.Pin = GPIO_PIN_2;
//   GPIO_InitStruct.Mode = GPIO_MODE_OUTPUT_PP;
//   GPIO_InitStruct.Pull = GPIO_NOPULL;
//   GPIO_InitStruct.Speed = GPIO_SPEED_FREQ_LOW;
//   HAL_GPIO_Init(GPIOA, &GPIO_InitStruct);

//   /*Configure GPIO pins : DIR_Left_F_Pin DIR_Left_B_Pin DIR_Right_F_Pin
//    * DIR_Right_B_Pin */
//   GPIO_InitStruct.Pin =
//       DIR_Left_F_Pin | DIR_Left_B_Pin | DIR_Right_F_Pin | DIR_Right_B_Pin;
//   GPIO_InitStruct.Mode = GPIO_MODE_OUTPUT_PP;
//   GPIO_InitStruct.Pull = GPIO_NOPULL;
//   GPIO_InitStruct.Speed = GPIO_SPEED_FREQ_LOW;
//   HAL_GPIO_Init(GPIOB, &GPIO_InitStruct);

//   /* USER CODE BEGIN MX_GPIO_Init_2 */

//   /* USER CODE END MX_GPIO_Init_2 */
// }

// /* USER CODE BEGIN 4 */
// void LSM_Init(void) {
//   uint8_t data;

//   // CTRL_REG1_A → 0x67 speeds the sensor up to 200Hz to match your STM32!
//   data = 0x67;
//   HAL_I2C_Mem_Write(&hi2c1, LSM_ADDR, 0x20, I2C_MEMADD_SIZE_8BIT, &data, 1,
//                     HAL_MAX_DELAY);

//   // CTRL_REG4_A → 0x88 turns ON the BDU Shield and High-Resolution mode!
//   data = 0x88;
//   HAL_I2C_Mem_Write(&hi2c1, LSM_ADDR, 0x23, I2C_MEMADD_SIZE_8BIT, &data, 1,
//                     HAL_MAX_DELAY);
// }

// void GYRO_Init(void) {
//   uint8_t data[2];

//   data[0] = GYRO_CTRL_REG1;
//   data[1] = 0x0F; // Power on, enable X Y Z, 95Hz

//   HAL_GPIO_WritePin(GYRO_CS_PORT, GYRO_CS_PIN, GPIO_PIN_RESET);
//   HAL_SPI_Transmit(&hspi1, data, 2, HAL_MAX_DELAY);
//   HAL_GPIO_WritePin(GYRO_CS_PORT, GYRO_CS_PIN, GPIO_PIN_SET);
// }

// void GYRO_Offset_Calibration(LSM_Data *data) {
//   float sum_x = 0.0f, sum_y = 0.0f, sum_z = 0.0f;
//   for (int i = 0; i < 50; i++) {
//     GYRO_Read(data); // Read the raw gyro
//     sum_x += data->gyro_scaled_x;
//     sum_y += data->gyro_scaled_y;
//     sum_z += data->gyro_scaled_z;
//     HAL_Delay(10);
//   }
//   // Save the average "fake speed"
//   data->gyro_offset_x = sum_x / 50.0f;
//   data->gyro_offset_y = sum_y / 50.0f;
//   data->gyro_offset_z = sum_z / 50.0f;
// }

// void LSM_Read(LSM_Data *data) {
//   uint8_t rawData[6];

//   HAL_I2C_Mem_Read(&hi2c1, LSM_ADDR, 0x28 | 0x80, I2C_MEMADD_SIZE_8BIT, rawData,
//                    6, HAL_MAX_DELAY);

//   // YOU MUST SHIFT RIGHT BY 4 ( >> 4 ) TO DELETE THE EMPTY BITS!
//   data->raw_x = ((int16_t)((rawData[1] << 8) | rawData[0])) >> 4;
//   data->raw_y = ((int16_t)((rawData[3] << 8) | rawData[2])) >> 4;
//   data->raw_z = ((int16_t)((rawData[5] << 8) | rawData[4])) >> 4;

//   // Because we turned on High Res mode, the multiplier is exactly 1.0f,
//   // NOT 3.9f!
//   data->scaled_x = (data->raw_x * 1.0f / 1000.0f) - data->offset_x;
//   data->scaled_y = (data->raw_y * 1.0f / 1000.0f) - data->offset_y;
//   data->scaled_z = (data->raw_z * 1.0f / 1000.0f) - data->offset_z;
// }

// void GYRO_Read(LSM_Data *data) {
//   uint8_t tx_buf[7] = {0};
//   uint8_t rx_buf[7] = {0};

//   tx_buf[0] = 0xC0 | GYRO_OUT_X_L;
//   // 0x80 = Read
//   // 0x40 = Auto increment

//   HAL_GPIO_WritePin(GYRO_CS_PORT, GYRO_CS_PIN, GPIO_PIN_RESET);
//   HAL_SPI_TransmitReceive(&hspi1, tx_buf, rx_buf, 7, HAL_MAX_DELAY);
//   HAL_GPIO_WritePin(GYRO_CS_PORT, GYRO_CS_PIN, GPIO_PIN_SET);

//   data->gyro_raw_x = (int16_t)((rx_buf[2] << 8) | rx_buf[1]);
//   data->gyro_raw_y = (int16_t)((rx_buf[4] << 8) | rx_buf[3]);
//   data->gyro_raw_z = (int16_t)((rx_buf[6] << 8) | rx_buf[5]);

//   // L3GD20 ±250 dps sensitivity
//   // L3GD20 ±250 dps sensitivity MINUS the offset
//   data->gyro_scaled_x = (data->gyro_raw_x * 0.00875f) - data->gyro_offset_x;
//   data->gyro_scaled_y = (data->gyro_raw_y * 0.00875f) - data->gyro_offset_y;
//   data->gyro_scaled_z = (data->gyro_raw_z * 0.00875f) - data->gyro_offset_z;
// }

// int _write(int file, char *ptr, int len) {
//   HAL_UART_Transmit(&huart1, (uint8_t *)ptr, len, HAL_MAX_DELAY);
//   return len;
// }

// void HAL_TIM_PeriodElapsedCallback(TIM_HandleTypeDef *htim) {
//   if (htim->Instance == TIM4) // Using your TIM4 setup
//   {
//     static int counter = 0;

//     // 1. Read Sensors
//     LSM_Read(&acc_data);
//     GYRO_Read(&acc_data);

//     // 2. Angle Estimation (Complementary Filter)
//     // Note: You may need to swap Y/Z or X/Z based on exactly how your board is
//     // mounted.
//     acc_angle = atan2f(acc_data.scaled_x, acc_data.scaled_z) * (180.0f / M_PI);

//     // Filter: 98% Gyro, 2% Accelerometer
//     tilt_angle = 0.98f * (tilt_angle + (acc_data.gyro_scaled_y * dt)) +
//                  0.02f * acc_angle;

//     HAL_GPIO_TogglePin(GPIOA, GPIO_PIN_2);
//     // 3. PID Controller
//     // Note: Pure proportional (P only) is not allowed by the lab manual
//     float error = setpoint - tilt_angle;

//     // Proportional
//     float P = Kp * error;

//     // Integral
//     integral += error * dt;
//     float I = Ki * integral;

//     // Derivative
//     float derivative = (error - previous_error) / dt;
//     float D = Kd * derivative;

//     pid_output = P + I + D;
//     previous_error = error;

//     Set_Motor_Speeds(-pid_output);
//     counter++;
//     if (counter >= 20) // 200Hz / 20 = 10Hz print rate
//     {
//       display_flag = 1;
//       counter = 0;
//     }
//   }
// }
// void Set_Motor_Speeds(float pid_value) {
//   float final_pwm = 0.0f;

//   // 1. Determine Direction
//   if (pid_value > 0) // Falling Forward -> Drive Forward to catch it
//   {
//     HAL_GPIO_WritePin(GPIOB, DIR_Left_B_Pin, GPIO_PIN_SET);
//     HAL_GPIO_WritePin(GPIOB, DIR_Left_F_Pin, GPIO_PIN_RESET);

//     HAL_GPIO_WritePin(GPIOB, DIR_Right_B_Pin, GPIO_PIN_SET);
//     HAL_GPIO_WritePin(GPIOB, DIR_Right_F_Pin, GPIO_PIN_RESET);

//     final_pwm = pid_value;
//   } else if (pid_value < 0) // Falling Backward -> Drive Backward
//   {
//     HAL_GPIO_WritePin(GPIOB, DIR_Left_F_Pin, GPIO_PIN_SET);
//     HAL_GPIO_WritePin(GPIOB, DIR_Left_B_Pin, GPIO_PIN_RESET);

//     HAL_GPIO_WritePin(GPIOB, DIR_Right_F_Pin, GPIO_PIN_SET);
//     HAL_GPIO_WritePin(GPIOB, DIR_Right_B_Pin, GPIO_PIN_RESET);

//     final_pwm = -pid_value; // PWM must be a positive number
//   } else                    // Perfectly balanced
//   {
//     final_pwm = 0.0f;
//   }

//   // 2. Apply Deadzone (Only if we are actually trying to move)
//   if (final_pwm > 0.0f) {
//     final_pwm += PWM_DEADZONE;
//   }

//   // 3. Clamp to Maximum Speed
//   if (final_pwm > MAX_PWM) {
//     final_pwm = MAX_PWM;
//   }

//   // 4. Send speed to the hardware timer registers
//   __HAL_TIM_SET_COMPARE(&htim2, TIM_CHANNEL_1,
//                         (uint32_t)final_pwm); // Left Motor
//   __HAL_TIM_SET_COMPARE(&htim2, TIM_CHANNEL_2,
//                         (uint32_t)final_pwm); // Right Motor
// }
// /* USER CODE END 4 */

// /**
//  * @brief  This function is executed in case of error occurrence.
//  * @retval None
//  */
// void Error_Handler(void) {
//   /* USER CODE BEGIN Error_Handler_Debug */
//   /* User can add his own implementation to report the HAL error return state */
//   __disable_irq();
//   while (1) {
//   }
//   /* USER CODE END Error_Handler_Debug */
// }
// #ifdef USE_FULL_ASSERT
// /**
//  * @brief  Reports the name of the source file and the source line number
//  *         where the assert_param error has occurred.
//  * @param  file: pointer to the source file name
//  * @param  line: assert_param error line source number
//  * @retval None
//  */
// void assert_failed(uint8_t *file, uint32_t line) {
//   /* USER CODE BEGIN 6 */
//   /* User can add his own implementation to report the file name and line
//      number, ex: printf("Wrong parameters value: file %s on line %d\r\n", file,
//      line) */
//   /* USER CODE END 6 */
// }
// #endif /* USE_FULL_ASSERT */
